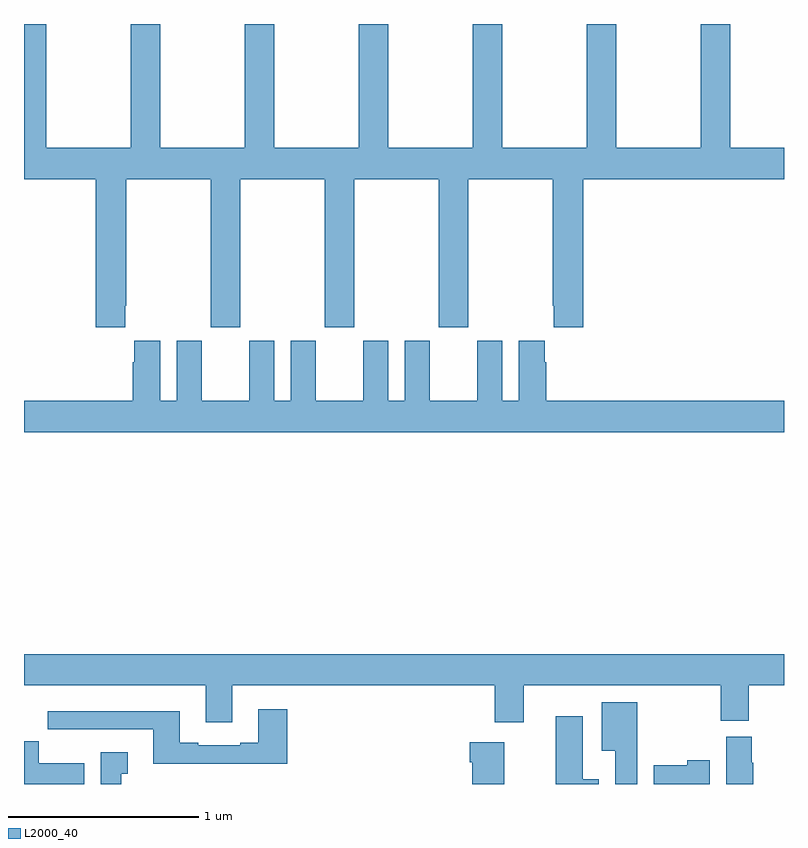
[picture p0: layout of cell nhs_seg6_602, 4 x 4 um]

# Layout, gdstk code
import gdstk
lib = gdstk.Library(unit=1e-6, precision=1e-09)
def P(c, l, *ps):  # polygons
    for p in ps: c.add(gdstk.Polygon(p, *l))
L2000_40 = (2000, 40)

nhs_seg6_602 = lib.new_cell('nhs_seg6_602')
P(nhs_seg6_602, L2000_40, [(149,932.684),(149.378,932.684),(149.378,931.905),(149.533,931.905),(149.533,932.017),(149.538,932.017),(149.538,932.684),(149.983,932.684),(149.983,931.905),(150.138,931.905),(150.138,932.684),(150.583,932.684),(150.583,931.905),(150.738,931.905),(150.738,932.684),(151.183,932.684),(151.183,931.905),(151.338,931.905),(151.338,932.684),(151.783,932.684),(151.783,932.017),(151.787,932.017),(151.787,931.905),(151.943,931.905),(151.943,932.684),(153,932.684),(153,932.848),(152.718,932.848),(152.718,933.5),(152.563,933.5),(152.563,932.848),(152.118,932.848),(152.118,933.5),(151.963,933.5),(151.963,932.848),(151.518,932.848),(151.518,933.5),(151.363,933.5),(151.363,932.848),(150.918,932.848),(150.918,933.5),(150.763,933.5),(150.763,932.848),(150.318,932.848),(150.318,933.5),(150.163,933.5),(150.163,932.848),(149.718,932.848),(149.718,933.5),(149.563,933.5),(149.563,932.848),(149.118,932.848),(149.118,933.5),(149,933.5)],
  [(153,931.516),(151.748,931.516),(151.748,931.721),(151.741,931.721),(151.741,931.834),(151.604,931.834),(151.604,931.516),(151.516,931.516),(151.516,931.834),(151.385,931.834),(151.385,931.516),(151.135,931.516),(151.135,931.834),(151.004,931.834),(151.004,931.516),(150.916,931.516),(150.916,931.834),(150.785,931.834),(150.785,931.516),(150.535,931.516),(150.535,931.834),(150.404,931.834),(150.404,931.516),(150.316,931.516),(150.316,931.834),(150.185,931.834),(150.185,931.516),(149.935,931.516),(149.935,931.834),(149.804,931.834),(149.804,931.516),(149.716,931.516),(149.716,931.834),(149.579,931.834),(149.579,931.721),(149.573,931.721),(149.573,931.516),(149,931.516),(149,931.352),(153,931.352)],
  [(150.097,930.02),(151.478,930.02),(151.478,929.826),(151.63,929.826),(151.63,930.02),(152.668,930.02),(152.668,929.833),(152.815,929.833),(152.815,930.02),(153,930.02),(153,930.184),(149,930.184),(149,930.02),(149.957,930.02),(149.957,929.826),(150.097,929.826)],
  [(152.227,929.929),(152.042,929.929),(152.042,929.675),(152.111,929.675),(152.111,929.5),(152.227,929.5)],
  [(150.386,929.893),(150.233,929.893),(150.233,929.716),(150.137,929.716),(150.137,929.703),(149.917,929.703),(149.917,929.716),(149.821,929.716),(149.821,929.884),(149.124,929.884),(149.124,929.789),(149.233,929.789),(149.233,929.787),(149.681,929.787),(149.681,929.606),(150.386,929.606)],
  [(152.026,929.524),(151.942,929.524),(151.942,929.857),(151.799,929.857),(151.799,929.5),(152.026,929.5)],
  [(152.838,929.612),(152.83,929.612),(152.83,929.748),(152.696,929.748),(152.696,929.5),(152.838,929.5)],
  [(149.317,929.608),(149.077,929.608),(149.077,929.724),(149,929.724),(149,929.5),(149.317,929.5)],
  [(151.528,929.719),(151.346,929.719),(151.346,929.615),(151.358,929.615),(151.358,929.5),(151.528,929.5)],
  [(149.512,929.555),(149.545,929.555),(149.545,929.668),(149.405,929.668),(149.405,929.5),(149.512,929.5)],
  [(152.608,929.626),(152.49,929.626),(152.49,929.599),(152.315,929.599),(152.315,929.5),(152.608,929.5)])

lib.write_gds('nhs_seg6_602.gds')
